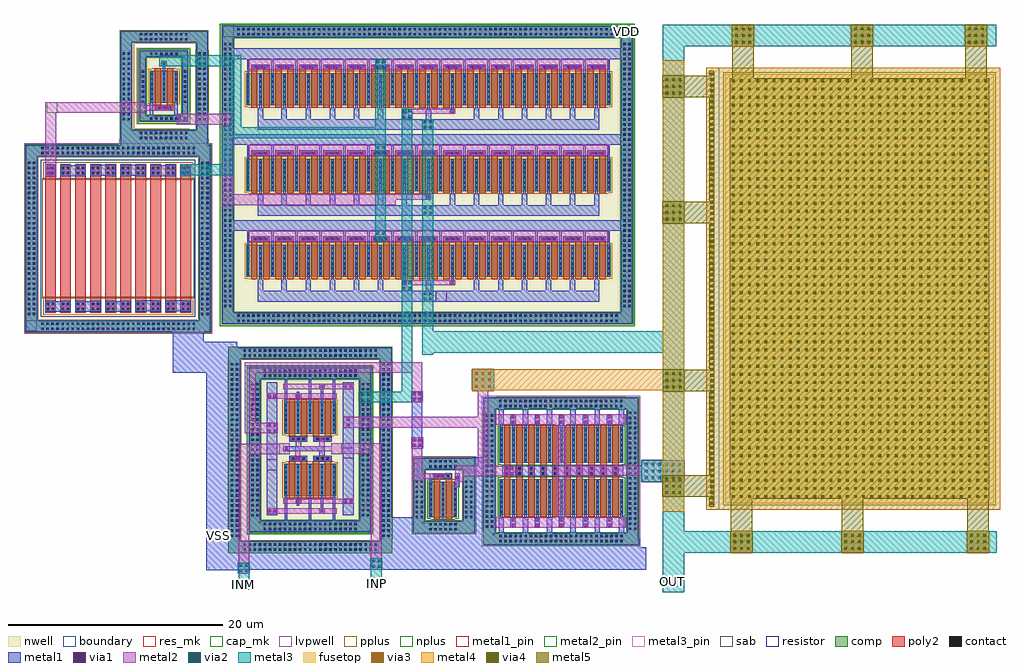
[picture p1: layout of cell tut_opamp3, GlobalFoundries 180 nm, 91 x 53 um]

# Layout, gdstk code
from math import pi, radians
import gdstk
lib = gdstk.Library(unit=1e-6, precision=1e-09)
def R(c, l, rs):  # rectangles x0, y0, x1, y1
    for r in rs: c.add(gdstk.rectangle(r[:2], r[2:], *l))
def A(c, l, x, y, w, h, nx, ny, dx, dy):  # array of equal rectangles
    R(c, l, [(x+i*dx, y+j*dy, x+i*dx+w, y+j*dy+h) for i in range(nx) for j in range(ny)])
boundary = (0, 0)
nwell = (21, 0)
comp = (22, 0)
poly2 = (30, 0)
pplus = (31, 0)
nplus = (32, 0)
contact = (33, 0)
metal1 = (34, 0)
metal1_pin = (34, 10)
via1 = (35, 0)
metal2 = (36, 0)
metal2_pin = (36, 10)
via2 = (38, 0)
via3 = (40, 0)
via4 = (41, 0)
metal3 = (42, 0)
metal3_pin = (42, 10)
metal4 = (46, 0)
sab = (49, 0)
resistor = (62, 0)
fusetop = (75, 0)
metal5 = (81, 0)
res_mk = (110, 5)
cap_mk = (117, 5)
lvpwell = (204, 0)

day7_opamp_m12half = lib.new_cell('day7_opamp_m12half')
R(day7_opamp_m12half, nwell, [(-4.05,-7.6,1.75,-1.9)])
R(day7_opamp_m12half, comp, [(-3.62,-5.8,1.22,-2.8)])
A(day7_opamp_m12half, poly2, -3.18, -6.02, 0.6, 3.42, 4, 1, 1.12, 0)
R(day7_opamp_m12half, poly2, [(-3.18,-2.6,-1.45,-2.58), (-0.94,-2.6,0.8,-2.58), (-3.15,-2.58,-1.45,-2.05), (-0.9,-2.58,0.8,-2.05)])
R(day7_opamp_m12half, pplus, [(-3.41,-6.03,1.01,-5.96), (-3.78,-5.96,1.38,-2.64), (-3.41,-2.64,1.01,-2.57)])
A(day7_opamp_m12half, contact, -3.55, -5.585, 0.22, 0.22, 5, 6, 1.12, 0.47)
A(day7_opamp_m12half, contact, -2.88, -2.41, 0.22, 0.22, 3, 1, 0.47, 0)
A(day7_opamp_m12half, contact, -0.63, -2.41, 0.22, 0.22, 3, 1, 0.47, 0)
A(day7_opamp_m12half, metal1, -3.555, -7.6, 0.23, 4.79, 3, 1, 2.24, 0)
R(day7_opamp_m12half, metal1, [(-0.35,-7.45,0.15,-6.95), (-0.195,-6.95,0.035,-2.81), (-2.435,-6.7,-2.205,-6.55), (-2.55,-6.55,-2.05,-6.05), (-2.435,-6.05,-2.205,-2.81), (-3.15,-2.55,-1.45,-2.05), (-0.9,-2.55,0.8,-2.05)])
R(day7_opamp_m12half, via1, [(-0.23,-7.33,0.03,-7.07), (-2.43,-6.43,-2.17,-6.17)])
R(day7_opamp_m12half, metal2, [(-3.7,-7.45,1.3,-6.95), (-3.7,-6.55,1.3,-6.05)])

day7_opamp_m12 = lib.new_cell('day7_opamp_m12')
R(day7_opamp_m12, nwell, [(45.7,-2.5,57.4,13.2)])
R(day7_opamp_m12, comp, [(43.92,-4.28,59.2,-3.12), (43.92,-3.12,45.08,13.78), (58.04,-3.12,59.2,13.78), (45.82,-2.38,57.28,-1.22), (45.82,-1.22,46.98,11.92), (56.12,-1.22,57.28,11.92), (45.82,11.92,57.28,13.08), (43.92,13.78,59.2,14.94)])
R(day7_opamp_m12, pplus, [(45.205,-4.31,57.915,-4.3), (43.9,-4.3,59.22,-3.09), (43.9,-3.09,45.11,-2.995), (58.01,-3.09,59.22,-2.995), (43.89,-2.995,45.11,13.655), (58.01,-2.995,59.23,13.655), (43.9,13.655,45.11,13.75), (58.01,13.655,59.22,13.75), (43.9,13.75,59.22,14.96), (45.205,14.96,57.915,14.97)])
R(day7_opamp_m12, nplus, [(45.66,-2.54,57.44,-1.19), (45.66,-1.19,47.01,11.89), (56.09,-1.19,57.44,11.89), (45.66,11.89,57.44,13.24)])
A(day7_opamp_m12, contact, 45.34, -4.045, 0.22, 0.22, 27, 2, 0.47, 0.47)
A(day7_opamp_m12, contact, 44.155, -2.77, 0.22, 0.22, 1, 35, 0, 0.47)
A(day7_opamp_m12, contact, 44.625, -2.77, 0.22, 0.22, 1, 35, 0, 0.47)
A(day7_opamp_m12, contact, 58.275, -2.77, 0.22, 0.22, 1, 35, 0, 0.47)
A(day7_opamp_m12, contact, 58.745, -2.77, 0.22, 0.22, 1, 35, 0, 0.47)
A(day7_opamp_m12, contact, 47.21, -2.145, 0.22, 0.22, 19, 2, 0.47, 0.47)
A(day7_opamp_m12, contact, 46.055, -0.87, 0.22, 0.22, 1, 27, 0, 0.47)
A(day7_opamp_m12, contact, 46.525, -0.87, 0.22, 0.22, 1, 27, 0, 0.47)
A(day7_opamp_m12, contact, 56.355, -0.87, 0.22, 0.22, 1, 27, 0, 0.47)
A(day7_opamp_m12, contact, 56.825, -0.87, 0.22, 0.22, 1, 27, 0, 0.47)
A(day7_opamp_m12, contact, 47.21, 12.155, 0.22, 0.22, 19, 2, 0.47, 0.47)
A(day7_opamp_m12, contact, 45.34, 14.015, 0.22, 0.22, 27, 2, 0.47, 0.47)
A(day7_opamp_m12, metal1, 49.195, -1.285, 0.23, 0.585, 3, 1, 2.24, 0)
A(day7_opamp_m12, metal1, 49.195, 11.55, 0.23, 0.435, 3, 1, 2.24, 0)
R(day7_opamp_m12, metal1, [(43.985,-4.215,59.135,-3.185), (43.985,-3.185,45.015,13.845), (58.105,-3.185,59.135,13.845), (45.885,-2.315,57.215,-1.285), (45.885,-1.285,46.915,11.985), (56.185,-1.285,57.215,11.985), (47.5,-0.75,48.5,11.65), (54.6,-0.75,55.6,11.65), (50.25,4.4,50.55,4.7), (52.4,4.55,52.9,5.2), (49.05,5.2,52.9,5.7), (50.2,5.7,50.7,6.4), (52.5,6.2,52.8,6.5), (45.885,11.985,57.215,13.015), (43.985,13.845,59.135,14.875)])
R(day7_opamp_m12, metal1_pin, [(46.7,-1.5,46.9,-1.3), (47.5,3.45,48.5,4.45), (54.6,4.55,55.6,5.55)])
R(day7_opamp_m12, via1, [(47.61,-0.48,47.87,-0.22), (48.13,-0.48,48.39,-0.22), (54.71,0.42,54.97,0.68), (55.23,0.42,55.49,0.68), (50.27,4.42,50.53,4.68), (49.22,5.32,49.48,5.58), (52.52,6.22,52.78,6.48), (47.61,10.22,47.87,10.48), (48.13,10.22,48.39,10.48), (54.71,11.12,54.97,11.38), (55.23,11.12,55.49,11.38)])
R(day7_opamp_m12, metal2, [(47.5,-0.6,49.7,-0.1), (53.4,0.3,55.6,0.8), (50.15,4.3,50.65,5.2), (48.65,4.95,49.65,5.95), (53.5,4.95,54.5,5.2), (50.15,5.2,54.5,5.7), (52.4,5.7,52.9,6.6), (53.5,5.7,54.5,5.95), (47.5,10.1,49.7,10.6), (53.4,11,55.6,11.5)])
R(day7_opamp_m12, metal2_pin, [(48.65,4.95,49.65,5.95), (53.5,4.95,54.5,5.95)])
day7_opamp_m12.add(gdstk.Reference(day7_opamp_m12half, (52.75,4.05), x_reflection=True))
day7_opamp_m12.add(gdstk.Reference(day7_opamp_m12half, (52.75,6.85)))
day7_opamp_m12.add(gdstk.Label('S', (46.8,-1.4), layer=34, texttype=10))
day7_opamp_m12.add(gdstk.Label('INM', (49.15,5.45), layer=36, texttype=10))
day7_opamp_m12.add(gdstk.Label('INP', (54,5.45), layer=36, texttype=10))
day7_opamp_m12.add(gdstk.Label('D2', (55.1,5.05), layer=34, texttype=10))
day7_opamp_m12.add(gdstk.Label('D1', (48,3.95), layer=34, texttype=10))

day7_opamp_bias_r1 = lib.new_cell('day7_opamp_bias_r1')
R(day7_opamp_bias_r1, comp, [(8.07,-29.73,25.39,-28.57), (8.07,-28.57,9.23,-13.35), (24.23,-28.57,25.39,-13.35), (8.07,-13.35,25.39,-12.19)])
A(day7_opamp_bias_r1, poly2, 9.93, -27.87, 1, 13.82, 10, 1, 1.4, 0)
R(day7_opamp_bias_r1, pplus, [(9.355,-29.76,24.105,-29.75), (8.05,-29.75,25.41,-28.54), (8.05,-28.54,9.26,-28.445), (24.2,-28.54,25.41,-28.445), (8.04,-28.445,9.26,-13.475), (24.2,-28.445,25.42,-13.475), (9.73,-28.07,23.73,-26.46), (9.73,-15.46,23.73,-13.85), (8.05,-13.475,9.26,-13.38), (24.2,-13.475,25.41,-13.38), (8.05,-13.38,25.41,-12.17), (9.355,-12.17,24.105,-12.16)])
A(day7_opamp_bias_r1, contact, 9.57, -29.495, 0.22, 0.22, 31, 2, 0.47, 0.47)
A(day7_opamp_bias_r1, contact, 8.305, -28.12, 0.22, 0.22, 1, 31, 0, 0.47)
A(day7_opamp_bias_r1, contact, 8.775, -28.12, 0.22, 0.22, 1, 31, 0, 0.47)
A(day7_opamp_bias_r1, contact, 24.465, -28.12, 0.22, 0.22, 1, 31, 0, 0.47)
A(day7_opamp_bias_r1, contact, 24.935, -28.12, 0.22, 0.22, 1, 31, 0, 0.47)
A(day7_opamp_bias_r1, contact, 9.57, -13.115, 0.22, 0.22, 31, 2, 0.47, 0.47)
R(day7_opamp_bias_r1, contact, [(10.085,-27.635,10.305,-27.415), (10.555,-27.635,10.775,-27.415), (11.485,-27.635,11.705,-27.415), (11.955,-27.635,12.175,-27.415), (12.885,-27.635,13.105,-27.415), (13.355,-27.635,13.575,-27.415), (14.285,-27.635,14.505,-27.415), (14.755,-27.635,14.975,-27.415), (15.685,-27.635,15.905,-27.415), (16.155,-27.635,16.375,-27.415), (17.085,-27.635,17.305,-27.415), (17.555,-27.635,17.775,-27.415), (18.485,-27.635,18.705,-27.415), (18.955,-27.635,19.175,-27.415), (19.885,-27.635,20.105,-27.415), (20.355,-27.635,20.575,-27.415), (21.285,-27.635,21.505,-27.415), (21.755,-27.635,21.975,-27.415), (22.685,-27.635,22.905,-27.415), (23.155,-27.635,23.375,-27.415), (10.085,-27.165,10.305,-26.945), (10.555,-27.165,10.775,-26.945), (11.485,-27.165,11.705,-26.945), (11.955,-27.165,12.175,-26.945), (12.885,-27.165,13.105,-26.945), (13.355,-27.165,13.575,-26.945), (14.285,-27.165,14.505,-26.945), (14.755,-27.165,14.975,-26.945), (15.685,-27.165,15.905,-26.945), (16.155,-27.165,16.375,-26.945), (17.085,-27.165,17.305,-26.945), (17.555,-27.165,17.775,-26.945), (18.485,-27.165,18.705,-26.945), (18.955,-27.165,19.175,-26.945), (19.885,-27.165,20.105,-26.945), (20.355,-27.165,20.575,-26.945), (21.285,-27.165,21.505,-26.945), (21.755,-27.165,21.975,-26.945), (22.685,-27.165,22.905,-26.945), (23.155,-27.165,23.375,-26.945), (10.085,-14.975,10.305,-14.755), (10.555,-14.975,10.775,-14.755), (11.485,-14.975,11.705,-14.755), (11.955,-14.975,12.175,-14.755), (12.885,-14.975,13.105,-14.755), (13.355,-14.975,13.575,-14.755), (14.285,-14.975,14.505,-14.755), (14.755,-14.975,14.975,-14.755), (15.685,-14.975,15.905,-14.755), (16.155,-14.975,16.375,-14.755), (17.085,-14.975,17.305,-14.755), (17.555,-14.975,17.775,-14.755), (18.485,-14.975,18.705,-14.755), (18.955,-14.975,19.175,-14.755), (19.885,-14.975,20.105,-14.755), (20.355,-14.975,20.575,-14.755), (21.285,-14.975,21.505,-14.755), (21.755,-14.975,21.975,-14.755), (22.685,-14.975,22.905,-14.755), (23.155,-14.975,23.375,-14.755), (10.085,-14.505,10.305,-14.285), (10.555,-14.505,10.775,-14.285), (11.485,-14.505,11.705,-14.285), (11.955,-14.505,12.175,-14.285), (12.885,-14.505,13.105,-14.285), (13.355,-14.505,13.575,-14.285), (14.285,-14.505,14.505,-14.285), (14.755,-14.505,14.975,-14.285), (15.685,-14.505,15.905,-14.285), (16.155,-14.505,16.375,-14.285), (17.085,-14.505,17.305,-14.285), (17.555,-14.505,17.775,-14.285), (18.485,-14.505,18.705,-14.285), (18.955,-14.505,19.175,-14.285), (19.885,-14.505,20.105,-14.285), (20.355,-14.505,20.575,-14.285), (21.285,-14.505,21.505,-14.285), (21.755,-14.505,21.975,-14.285), (22.685,-14.505,22.905,-14.285), (23.155,-14.505,23.375,-14.285)])
A(day7_opamp_bias_r1, metal1, 9.94, -27.805, 0.98, 0.005, 6, 1, 1.4, 0)
A(day7_opamp_bias_r1, metal1, 18.34, -27.805, 0.98, 0.055, 4, 1, 1.4, 0)
A(day7_opamp_bias_r1, metal1, 9.94, -27.8, 2.38, 1, 3, 1, 2.8, 0)
A(day7_opamp_bias_r1, metal1, 9.94, -26.8, 0.98, 0.025, 6, 1, 1.4, 0)
A(day7_opamp_bias_r1, metal1, 14.14, -15.145, 0.98, 0.045, 4, 1, 1.4, 0)
R(day7_opamp_bias_r1, metal1, [(8.135,-29.665,25.325,-28.635), (8.135,-28.635,9.165,-13.285), (24.295,-28.635,25.325,-13.285), (18.34,-27.75,20.72,-26.775), (21.14,-27.75,23.52,-26.775), (18.9,-26.775,20.05,-26.75), (21.6,-26.775,22.75,-26.75), (11.9,-15.15,13.05,-15.145), (20.35,-15.15,21.5,-15.145), (9.94,-15.145,10.92,-14.115), (11.34,-15.145,13.72,-14.15), (19.74,-15.145,22.12,-14.15), (22.54,-15.145,23.52,-14.115), (14.14,-15.1,16.52,-14.115), (16.94,-15.1,19.32,-14.115), (11.34,-14.15,12.32,-14.115), (12.74,-14.15,13.72,-14.115), (19.74,-14.15,20.72,-14.115), (21.14,-14.15,22.12,-14.115), (14.7,-14.115,15.85,-14.1), (17.3,-14.115,18.45,-14.1), (8.135,-13.285,25.325,-12.255)])
R(day7_opamp_bias_r1, sab, [(9.65,-26.56,23.81,-15.36), (9.65,-26.46,23.81,-15.46)])
R(day7_opamp_bias_r1, resistor, [(9.53,-28.27,23.93,-13.65)])
A(day7_opamp_bias_r1, res_mk, 9.93, -26.46, 1, 11, 10, 1, 1.4, 0)
R(day7_opamp_bias_r1, res_mk, [(9.65,-26.46,23.81,-15.46)])
R(day7_opamp_bias_r1, lvpwell, [(7.95,-29.85,25.51,-12.07)])

day7_opamp_bias_pair = lib.new_cell('day7_opamp_bias_pair')
R(day7_opamp_bias_pair, nwell, [(16.2,-9.45,19.66,-5.15)])
R(day7_opamp_bias_pair, comp, [(16.63,-8.8,19.23,-5.8)])
R(day7_opamp_bias_pair, poly2, [(17.07,-9.02,17.67,-5.5), (18.19,-9.02,18.79,-5.5), (17.07,-5.5,18.79,-5.03), (17.1,-5.03,18.75,-5)])
R(day7_opamp_bias_pair, pplus, [(16.84,-9.03,19.02,-8.96), (16.47,-8.96,19.39,-5.64), (16.84,-5.64,19.02,-5.57)])
A(day7_opamp_bias_pair, contact, 16.7, -8.585, 0.22, 0.22, 3, 6, 1.12, 0.47)
A(day7_opamp_bias_pair, contact, 17.37, -5.36, 0.22, 0.22, 3, 1, 0.47, 0)
R(day7_opamp_bias_pair, metal1, [(17.815,-9.6,18.045,-5.81), (16.695,-8.79,16.925,-4.5), (18.935,-8.79,19.165,-4.5), (17.25,-5.5,18.65,-5), (16.65,-4.5,19.165,-3.5)])
R(day7_opamp_bias_pair, via1, [(17.56,-5.38,17.82,-5.12), (18.08,-5.38,18.34,-5.12)])
R(day7_opamp_bias_pair, metal2, [(16.8,-5.5,19.05,-4.5)])

day7_opamp_bias_row = lib.new_cell('day7_opamp_bias_row')
A(day7_opamp_bias_row, pplus, 24.07, -8.93, 0.06, 0.07, 14, 2, 2.24, 3.39)
A(day7_opamp_bias_row, metal1, 24.95, -10, 0.5, 1, 5, 1, 2.25, 0)
A(day7_opamp_bias_row, metal1, 47.35, -10, 0.5, 1, 4, 1, 2.25, 0)
A(day7_opamp_bias_row, metal1, 36.15, -9.5, 0.5, 0.5, 3, 1, 2.25, 0)
R(day7_opamp_bias_row, metal1, [(22.75,-11,54.6,-10), (22.75,-10,23.25,-9), (42.9,-10,43.4,-9), (45.15,-10,45.65,-9)])
r = gdstk.Reference(day7_opamp_bias_pair, (5.05,0.1)); r.repetition = gdstk.Repetition(15, 1, v1=(2.24,0), v2=(0,0.71)); day7_opamp_bias_row.add(r)

day7_opamp_bias_mpmb = lib.new_cell('day7_opamp_bias_mpmb')
R(day7_opamp_bias_mpmb, nwell, [(15.45,-28.8,54.07,-0.69)])
R(day7_opamp_bias_mpmb, comp, [(15.57,-28.68,53.95,-27.52), (15.57,-27.52,16.73,-1.97), (52.79,-27.52,53.95,-1.97), (15.57,-1.97,53.95,-0.81)])
R(day7_opamp_bias_mpmb, nplus, [(15.41,-28.84,54.11,-27.49), (15.41,-27.49,16.76,-2), (52.76,-27.49,54.11,-2), (15.41,-2,54.11,-0.65)])
A(day7_opamp_bias_mpmb, contact, 17.025, -28.445, 0.22, 0.22, 76, 2, 0.47, 0.47)
A(day7_opamp_bias_mpmb, contact, 15.805, -27.075, 0.22, 0.22, 1, 53, 0, 0.47)
A(day7_opamp_bias_mpmb, contact, 16.275, -27.075, 0.22, 0.22, 1, 53, 0, 0.47)
A(day7_opamp_bias_mpmb, contact, 53.025, -27.075, 0.22, 0.22, 1, 53, 0, 0.47)
A(day7_opamp_bias_mpmb, contact, 53.495, -27.075, 0.22, 0.22, 1, 53, 0, 0.47)
A(day7_opamp_bias_mpmb, contact, 17.025, -1.735, 0.22, 0.22, 76, 2, 0.47, 0.47)
A(day7_opamp_bias_mpmb, metal1, 34.4, -26.45, 0.8, 0.8, 1, 3, 0, 8)
R(day7_opamp_bias_mpmb, metal1, [(15.635,-28.615,53.885,-27.585), (15.635,-27.585,16.665,-19.95), (52.855,-27.585,53.885,-19.95), (34.6,-25.65,35.1,-24.7), (32.45,-24.95,32.75,-24.65), (36.95,-24.95,37.25,-24.65), (15.635,-19.95,18.7,-18.95), (50.7,-19.95,53.885,-18.95), (15.635,-18.95,16.665,-11.95), (52.855,-18.95,53.885,-11.95), (32.35,-17.7,32.85,-16.7), (36.85,-17.65,37.35,-16.65), (34.7,-16.95,35,-16.65), (15.635,-11.95,18.75,-10.95), (50.75,-11.95,53.885,-10.95), (15.635,-10.95,16.665,-3.95), (52.855,-10.95,53.885,-3.95), (34.6,-9.65,35.1,-8.75), (32.45,-8.95,32.75,-8.65), (36.95,-8.95,37.25,-8.65), (15.635,-3.95,18.65,-2.95), (50.85,-3.95,53.885,-2.95), (15.635,-2.95,16.665,-1.905), (52.855,-2.95,53.885,-1.905), (15.635,-1.905,53.885,-0.875)])
R(day7_opamp_bias_mpmb, via1, [(34.41,-26.44,34.67,-26.18), (34.93,-26.44,35.19,-26.18), (34.41,-25.92,34.67,-25.66), (34.93,-25.92,35.19,-25.66), (32.47,-24.93,32.73,-24.67), (36.97,-24.93,37.23,-24.67), (34.41,-18.44,34.67,-18.18), (34.93,-18.44,35.19,-18.18), (34.41,-17.92,34.67,-17.66), (34.93,-17.92,35.19,-17.66), (34.72,-16.93,34.98,-16.67), (34.41,-10.44,34.67,-10.18), (34.93,-10.44,35.19,-10.18), (34.41,-9.92,34.67,-9.66), (34.93,-9.92,35.19,-9.66), (32.47,-8.93,32.73,-8.67), (36.97,-8.93,37.23,-8.67)])
A(day7_opamp_bias_mpmb, metal2, 34.3, -26.55, 1, 1, 1, 3, 0, 8)
A(day7_opamp_bias_mpmb, metal2, 30, -20.85, 0.8, 0.8, 1, 3, 0, 8)
R(day7_opamp_bias_mpmb, metal2, [(32.35,-25.55,33.35,-25.05), (32.35,-25.05,37.35,-24.55), (18.5,-17.55,31.8,-17.05), (18.5,-17.05,35.1,-16.55), (32.35,-9.55,33.35,-9.05), (32.35,-9.05,37.35,-8.55)])
R(day7_opamp_bias_mpmb, via2, [(34.41,-26.44,34.67,-26.18), (34.93,-26.44,35.19,-26.18), (34.41,-25.92,34.67,-25.66), (34.93,-25.92,35.19,-25.66), (32.46,-25.44,32.72,-25.18), (32.98,-25.44,33.24,-25.18), (32.46,-24.92,32.72,-24.66), (32.98,-24.92,33.24,-24.66), (30.01,-20.84,30.27,-20.58), (30.53,-20.84,30.79,-20.58), (30.01,-20.32,30.27,-20.06), (30.53,-20.32,30.79,-20.06), (34.41,-18.44,34.67,-18.18), (34.93,-18.44,35.19,-18.18), (34.41,-17.92,34.67,-17.66), (34.93,-17.92,35.19,-17.66), (30.01,-12.84,30.27,-12.58), (30.53,-12.84,30.79,-12.58), (30.01,-12.32,30.27,-12.06), (30.53,-12.32,30.79,-12.06), (34.41,-10.44,34.67,-10.18), (34.93,-10.44,35.19,-10.18), (34.41,-9.92,34.67,-9.66), (34.93,-9.92,35.19,-9.66), (32.46,-9.44,32.72,-9.18), (32.98,-9.44,33.24,-9.18), (32.46,-8.92,32.72,-8.66), (32.98,-8.92,33.24,-8.66), (30.01,-4.84,30.27,-4.58), (30.53,-4.84,30.79,-4.58), (30.01,-4.32,30.27,-4.06), (30.53,-4.32,30.79,-4.06)])
R(day7_opamp_bias_mpmb, metal3, [(34.3,-26.55,35.3,-9.55), (32.35,-25.55,33.35,-8.55), (29.9,-20.95,30.9,-3.95)])
day7_opamp_bias_mpmb.add(gdstk.Reference(day7_opamp_bias_row, (-3.8,-15.55)))
day7_opamp_bias_mpmb.add(gdstk.Reference(day7_opamp_bias_row, (-3.8,0.45)))
day7_opamp_bias_mpmb.add(gdstk.Reference(day7_opamp_bias_row, (-3.8,-7.55)))

day7_opamp_bias_mp2 = lib.new_cell('day7_opamp_bias_mp2')
R(day7_opamp_bias_mp2, nwell, [(12.9,-30.25,17.9,-23.1)])
R(day7_opamp_bias_mp2, comp, [(11.37,-31.88,19.6,-30.72), (11.37,-30.72,12.53,-22.67), (18.44,-30.72,19.6,-22.67), (13.17,-30.03,17.75,-29.37), (13.17,-29.37,13.83,-24.01), (17.09,-29.37,17.75,-24.01), (14.16,-28.24,16.76,-25.24), (13.17,-24.01,17.75,-23.35), (11.37,-22.67,19.6,-21.51)])
R(day7_opamp_bias_mp2, poly2, [(14.6,-29.01,15.2,-29), (15.72,-29.01,16.32,-29), (14.6,-29,16.32,-28.5), (14.6,-28.5,15.2,-25.02), (15.72,-28.5,16.32,-25.02)])
R(day7_opamp_bias_mp2, pplus, [(13.055,-31.91,17.815,-31.9), (11.35,-31.9,19.62,-30.7), (11.35,-30.7,17.815,-30.69), (18.42,-30.7,19.62,-30.145), (11.35,-30.69,12.69,-30.145), (11.34,-30.145,12.69,-23.295), (18.41,-30.145,19.63,-23.295), (14.37,-28.47,16.55,-28.4), (14,-28.4,16.92,-25.08), (14.37,-25.08,16.55,-25.01), (11.35,-23.295,12.69,-22.7), (18.42,-23.295,19.62,-22.69), (11.35,-22.7,17.815,-22.69), (11.35,-22.69,19.62,-21.49), (13.055,-21.49,17.815,-21.48)])
R(day7_opamp_bias_mp2, nplus, [(13.01,-30.19,17.91,-29.34), (13.01,-29.34,13.85,-28.445), (17.07,-29.34,17.91,-28.445), (13.01,-28.445,13.86,-25.035), (17.06,-28.445,17.91,-25.035), (13.01,-25.035,13.85,-24.04), (17.07,-25.035,17.91,-24.04), (13.01,-24.04,17.91,-23.19)])
A(day7_opamp_bias_mp2, contact, 13.21, -31.645, 0.22, 0.22, 10, 2, 0.47, 0.47)
A(day7_opamp_bias_mp2, contact, 11.605, -29.885, 0.22, 0.22, 1, 14, 0, 0.47)
A(day7_opamp_bias_mp2, contact, 12.075, -29.885, 0.22, 0.22, 1, 14, 0, 0.47)
A(day7_opamp_bias_mp2, contact, 18.675, -29.885, 0.22, 0.22, 1, 14, 0, 0.47)
A(day7_opamp_bias_mp2, contact, 19.145, -29.885, 0.22, 0.22, 1, 14, 0, 0.47)
A(day7_opamp_bias_mp2, contact, 14.175, -29.81, 0.22, 0.22, 6, 2, 0.47, 6.02)
A(day7_opamp_bias_mp2, contact, 14.87, -28.86, 0.22, 0.22, 3, 1, 0.47, 0)
A(day7_opamp_bias_mp2, contact, 13.39, -28.26, 0.22, 0.22, 1, 7, 0, 0.47)
A(day7_opamp_bias_mp2, contact, 17.31, -28.26, 0.22, 0.22, 1, 7, 0, 0.47)
A(day7_opamp_bias_mp2, contact, 14.23, -28.025, 0.22, 0.22, 3, 6, 1.12, 0.47)
A(day7_opamp_bias_mp2, contact, 13.21, -22.435, 0.22, 0.22, 10, 2, 0.47, 0.47)
R(day7_opamp_bias_mp2, metal1, [(11.435,-31.815,19.535,-30.785), (11.435,-30.785,12.465,-22.605), (18.505,-30.785,19.535,-22.605), (13.235,-29.965,17.685,-29.435), (13.235,-29.435,13.765,-23.945), (14.15,-29.435,14.455,-28.3), (15.345,-29.435,15.575,-29.4), (16.45,-29.435,16.75,-28.3), (17.155,-29.435,17.685,-23.945), (14.75,-29,16.15,-28.5), (14.225,-28.3,14.455,-25.25), (16.465,-28.3,16.695,-25.25), (15.345,-28.25,15.575,-24.85), (15.2,-24.85,15.7,-24.35), (13.235,-23.945,17.685,-23.415), (11.435,-22.605,19.535,-21.575)])

day7_opamp_bias = lib.new_cell('day7_opamp_bias')
R(day7_opamp_bias, comp, [(17.25,-13,25.55,-12.45)])
R(day7_opamp_bias, pplus, [(17.23,-13.02,25.57,-12.43)])
R(day7_opamp_bias, metal1, [(8.55,-30.3,9.55,-29.3), (46.75,-27.55,47.75,-26.55), (10.45,-15.8,11.2,-14.9), (23.05,-15.75,23.8,-14.85), (17.35,-13,25.45,-12.35), (22.7,-10.65,23.5,-10.3), (20.8,-9.65,21.95,-9.35), (21.15,-5.6,21.65,-5.1), (26.9,-2.85,27.9,-1.85)])
R(day7_opamp_bias, metal1_pin, [(8.55,-30.3,9.55,-29.3), (46.75,-27.55,47.75,-26.55), (26.9,-2.85,27.9,-1.85)])
R(day7_opamp_bias, via1, [(10.695,-15.74,10.955,-15.48), (23.295,-15.69,23.555,-15.43), (10.695,-15.22,10.955,-14.96), (23.295,-15.17,23.555,-14.91), (22.71,-10.605,22.97,-10.345), (23.23,-10.605,23.49,-10.345), (20.985,-9.63,21.245,-9.37), (21.505,-9.63,21.765,-9.37), (21.27,-5.48,21.53,-5.22)])
R(day7_opamp_bias, metal2, [(26.85,-18.55,30.7,-17.55), (26.85,-17.55,27.85,-11.05), (10.35,-15.9,11.35,-9.95), (22.95,-15.85,23.9,-14.75), (22.6,-11.05,27.85,-10.05), (10.35,-9.95,19.55,-9.75), (10.35,-9.75,22.05,-9.25), (10.35,-9.25,19.55,-8.95), (21.15,-5.6,21.65,-5.1)])
R(day7_opamp_bias, metal2_pin, [(10.45,-9.95,11.45,-8.95)])
R(day7_opamp_bias, via2, [(23.295,-15.69,23.555,-15.43), (23.295,-15.17,23.555,-14.91), (21.27,-5.48,21.53,-5.22)])
R(day7_opamp_bias, metal3, [(43.55,-26.55,44.55,-25.55), (22.95,-15.85,23.9,-15.75), (22.95,-15.75,27.8,-14.75), (26.8,-14.75,27.8,-12.3), (26.8,-12.3,42.1,-11.3), (26.8,-11.3,28.6,-11.2), (27.6,-11.2,28.6,-5.6), (20.95,-5.6,28.6,-4.6)])
R(day7_opamp_bias, metal3_pin, [(43.55,-26.55,44.55,-25.55)])
day7_opamp_bias.add(gdstk.Reference(day7_opamp_bias_r1, (0.4,-0.7)))
day7_opamp_bias.add(gdstk.Reference(day7_opamp_bias_mpmb, (11.2,-1)))
day7_opamp_bias.add(gdstk.Reference(day7_opamp_bias_mp2, (5.93,19.23)))
day7_opamp_bias.add(gdstk.Label('VDD', (27.4,-2.35), layer=34, texttype=10))
day7_opamp_bias.add(gdstk.Label('DB12', (47.25,-27.05), layer=34, texttype=10))
day7_opamp_bias.add(gdstk.Label('DB11', (44.05,-26.05), layer=42, texttype=10))
day7_opamp_bias.add(gdstk.Label('VSS', (9.05,-29.8), layer=34, texttype=10))
day7_opamp_bias.add(gdstk.Label('IREF', (10.95,-9.45), layer=36, texttype=10))

day7_opamp_m5half = lib.new_cell('day7_opamp_m5half')
R(day7_opamp_m5half, comp, [(0.27,3.44,11.83,6.74)])
A(day7_opamp_m5half, poly2, 0.71, 3.22, 0.6, 4.78, 10, 1, 1.12, 0)
R(day7_opamp_m5half, nplus, [(0.48,3.21,11.62,3.28), (0.11,3.28,11.99,6.9), (0.48,6.9,11.62,6.97)])
A(day7_opamp_m5half, contact, 0.34, 3.57, 0.22, 0.22, 11, 7, 1.12, 0.47)
A(day7_opamp_m5half, contact, 2.04, 7.155, 0.22, 0.22, 3, 2, 1.1, 0.47)
A(day7_opamp_m5half, contact, 5.39, 7.155, 0.22, 0.22, 3, 2, 1.1, 0.47)
R(day7_opamp_m5half, contact, [(0.89,7.155,1.11,7.375), (8.74,7.155,8.96,7.375), (9.84,7.155,10.06,7.375), (10.99,7.155,11.21,7.375), (0.89,7.625,1.11,7.845), (8.74,7.625,8.96,7.845), (9.84,7.625,10.06,7.845), (10.99,7.625,11.21,7.845)])
A(day7_opamp_m5half, metal1, 0.2, 1.7, 0.5, 1.5, 3, 1, 2.25, 0)
A(day7_opamp_m5half, metal1, 6.9, 1.7, 0.5, 1.5, 3, 1, 2.25, 0)
A(day7_opamp_m5half, metal1, 1.3, 2.2, 0.5, 1, 5, 1, 2.25, 0)
A(day7_opamp_m5half, metal1, 0.335, 3.2, 0.23, 3.53, 11, 1, 1.12, 0)
R(day7_opamp_m5half, metal1, [(0.55,7,11.8,8)])
A(day7_opamp_m5half, via1, 1.42, 2.31, 0.26, 0.26, 5, 2, 2.25, 0.52)
R(day7_opamp_m5half, metal2, [(-0.05,2.2,12.05,3.2)])
R(day7_opamp_m5half, lvpwell, [(-0.1,1.65,12.05,8)])

day7_opamp_m5 = lib.new_cell('day7_opamp_m5')
R(day7_opamp_m5, comp, [(2.27,-5.08,16.78,-3.92), (2.27,-3.92,3.43,7.52), (15.62,-3.92,16.78,7.52), (2.27,7.52,16.78,8.68)])
R(day7_opamp_m5, pplus, [(3.455,-5.11,15.595,-5.1), (2.25,-5.1,16.8,-3.89), (2.25,-3.89,3.46,-3.795), (15.59,-3.89,16.8,-3.845), (15.59,-3.845,16.81,7.49), (2.24,-3.795,3.46,7.395), (2.25,7.395,3.46,7.49), (2.25,7.49,16.81,7.495), (2.25,7.495,16.8,8.7), (3.455,8.7,15.545,8.71)])
A(day7_opamp_m5, contact, 3.775, -4.845, 0.22, 0.22, 25, 2, 0.47, 0.47)
A(day7_opamp_m5, contact, 15.855, -3.69, 0.22, 0.22, 1, 24, 0, 0.47)
A(day7_opamp_m5, contact, 16.325, -3.69, 0.22, 0.22, 1, 24, 0, 0.47)
A(day7_opamp_m5, contact, 2.505, -3.48, 0.22, 0.22, 1, 23, 0, 0.47)
A(day7_opamp_m5, contact, 2.975, -3.48, 0.22, 0.22, 1, 23, 0, 0.47)
A(day7_opamp_m5, contact, 3.75, 7.755, 0.22, 0.22, 25, 2, 0.47, 0.47)
R(day7_opamp_m5, metal1, [(2.335,-5.015,16.715,-3.985), (2.335,-3.985,3.365,7.585), (15.685,-3.985,16.715,7.585), (4.7,1.3,5.7,2.3), (2.335,7.585,16.715,8.615)])
R(day7_opamp_m5, metal1_pin, [(3.15,-4.185,3.35,-3.985), (4.7,1.3,5.7,2.3)])
R(day7_opamp_m5, metal2, [(9.05,-3.5,10,7.1), (3.9,6.1,4.9,7.1)])
R(day7_opamp_m5, metal2_pin, [(3.9,6.1,4.9,7.1)])
R(day7_opamp_m5, lvpwell, [(2.15,-5.2,16.9,8.8)])
day7_opamp_m5.add(gdstk.Reference(day7_opamp_m5half, (3.5,9.3), x_reflection=True))
day7_opamp_m5.add(gdstk.Reference(day7_opamp_m5half, (3.5,-5.7)))
day7_opamp_m5.add(gdstk.Label('D5', (4.4,6.6), layer=36, texttype=10))
day7_opamp_m5.add(gdstk.Label('G5', (5.2,1.8), layer=34, texttype=10))
day7_opamp_m5.add(gdstk.Label('VSS', (3.25,-4.085), layer=34, texttype=10))

day7_opamp_m34 = lib.new_cell('day7_opamp_m34')
R(day7_opamp_m34, comp, [(7.22,-4.08,13,-2.92), (7.22,-2.92,8.38,1.79), (11.84,-2.92,13,1.79), (8.71,-2.59,11.31,0.71), (7.22,1.79,13,2.95)])
R(day7_opamp_m34, poly2, [(9.15,-2.81,9.75,0.95), (10.27,-2.81,10.87,0.95), (9.15,0.95,10.87,1.5)])
R(day7_opamp_m34, pplus, [(8.505,-4.11,11.515,-4.1), (7.2,-4.1,13.02,-2.89), (7.2,-2.89,8.41,-2.795), (11.81,-2.89,13.02,-2.795), (7.19,-2.795,8.41,0.915), (11.81,-2.795,13.03,0.915), (7.2,0.915,8.4,1.76), (11.82,0.915,13.02,1.76), (7.2,1.76,13.02,2.97), (8.505,2.97,11.515,2.98)])
R(day7_opamp_m34, nplus, [(8.92,-2.82,11.1,-2.75), (8.55,-2.75,11.47,0.87), (8.92,0.87,11.1,0.94)])
A(day7_opamp_m34, contact, 8.725, -3.845, 0.22, 0.22, 6, 2, 0.47, 0.47)
A(day7_opamp_m34, contact, 7.455, -2.695, 0.22, 0.22, 1, 8, 0, 0.47)
A(day7_opamp_m34, contact, 7.925, -2.695, 0.22, 0.22, 1, 8, 0, 0.47)
A(day7_opamp_m34, contact, 12.075, -2.695, 0.22, 0.22, 1, 8, 0, 0.47)
A(day7_opamp_m34, contact, 12.545, -2.695, 0.22, 0.22, 1, 8, 0, 0.47)
A(day7_opamp_m34, contact, 8.78, -2.46, 0.22, 0.22, 3, 7, 1.12, 0.47)
A(day7_opamp_m34, contact, 9.42, 1.14, 0.22, 0.22, 3, 1, 0.47, 0)
A(day7_opamp_m34, contact, 8.725, 2.025, 0.22, 0.22, 6, 2, 0.47, 0.47)
R(day7_opamp_m34, metal1, [(7.285,-4.015,12.935,-2.985), (7.285,-2.985,8.315,1.855), (9.895,-2.985,10.125,0.7), (11.905,-2.985,12.935,1.855), (8.775,-2.58,9.005,1), (11.015,-2.58,11.245,0.2), (11.015,0.2,11.6,0.7), (11.1,0.7,11.6,1.5), (8.775,1,10.85,1.5), (7.285,1.855,12.935,2.885)])
R(day7_opamp_m34, metal1_pin, [(8.1,-3.2,8.3,-3), (8.8,1,9.3,1.5), (11.1,1,11.6,1.5)])
R(day7_opamp_m34, lvpwell, [(7.1,-4.2,13.12,3.07)])
day7_opamp_m34.add(gdstk.Label('D3', (9.05,1.25), layer=34, texttype=10))
day7_opamp_m34.add(gdstk.Label('D4', (11.35,1.25), layer=34, texttype=10))
day7_opamp_m34.add(gdstk.Label('VSS', (8.2,-3.1), layer=34, texttype=10))

cap_mim_2p0ff_ctd7an = lib.new_cell('cap_mim_2p0fF_CTD7AN')
R(cap_mim_2p0ff_ctd7an, boundary, [(-13.7,-20.6,12.5,20.6)])
A(cap_mim_2p0ff_ctd7an, via4, 13.04, -20.15, 0.26, 0.26, 1, 78, 0, 0.52)
A(cap_mim_2p0ff_ctd7an, via4, -12.51, -19.51, 0.26, 0.26, 32, 52, 0.76, 0.76)
R(cap_mim_2p0ff_ctd7an, metal4, [(-13.7,-20.6,13.7,20.6)])
R(cap_mim_2p0ff_ctd7an, fusetop, [(-13.1,-20,11.9,20)])
R(cap_mim_2p0ff_ctd7an, metal5, [(12.95,-20.315,13.39,20.315), (-12.7,-19.6,11.5,19.6)])
R(cap_mim_2p0ff_ctd7an, cap_mk, [(-13.3,-20.2,12.1,20.2)])

day7_c1 = lib.new_cell('day7_c1')
day7_c1.add(gdstk.Reference(cap_mim_2p0ff_ctd7an, (133,12.65)))

tut_opamp3 = lib.new_cell('tut_opamp3')
R(tut_opamp3, metal1, [(108.9,-1.6,111.8,-1.55), (108.9,-1.55,149.9,0.55), (108.9,0.55,111.8,16.8), (125.75,0.55,149.35,1.35), (125.75,1.35,135,1.4), (125.75,1.4,135.25,2.9), (125.75,2.9,128.5,3.35), (133.7,2.9,135.25,8.95), (132.15,6.75,132.45,7.35), (129.85,7.05,131,7.35), (136.6,7.25,137.65,8.05), (128.05,9.74,129.05,14.11), (114.65,11.25,115.45,12.05), (121.75,11.8,122.5,12.6), (128,14.11,129.1,15.09), (123.35,14.15,124.15,14.95), (128.05,15.09,129.05,15.1), (105.75,16.8,111.8,19.7), (105.75,19.7,108.65,21.1), (147.6,48.1,148.6,49.1)])
R(tut_opamp3, metal1_pin, [(109.55,1.15,110.55,2.15), (147.6,48.1,148.6,49.1)])
R(tut_opamp3, via1, [(132.17,6.92,132.43,7.18), (130.035,7.07,130.295,7.33), (130.555,7.07,130.815,7.33), (136.735,7.26,136.995,7.52), (137.255,7.26,137.515,7.52), (136.735,7.78,136.995,8.04), (137.255,7.78,137.515,8.04), (128.16,9.9,128.42,10.16), (128.68,9.9,128.94,10.16), (128.16,10.42,128.42,10.68), (128.68,10.42,128.94,10.68), (114.66,11.26,114.92,11.52), (115.18,11.26,115.44,11.52), (114.66,11.78,114.92,12.04), (115.18,11.78,115.44,12.04), (121.995,11.81,122.255,12.07), (121.995,12.33,122.255,12.59), (123.36,14.16,123.62,14.42), (123.88,14.16,124.14,14.42), (128.16,14.21,128.42,14.47), (128.68,14.21,128.94,14.47), (123.36,14.68,123.62,14.94), (123.88,14.68,124.14,14.94), (128.16,14.73,128.42,14.99), (128.68,14.73,128.94,14.99)])
R(tut_opamp3, metal2, [(111.9,-1.95,112.9,9.2), (124.25,-1.55,125.25,9.25), (132.05,6.15,132.55,6.65), (149.5,6.6,151.5,6.65), (132.05,6.65,132.9,7.15), (149.5,6.65,153.5,7.225), (128.05,6.75,129.05,6.95), (128.05,6.95,131.1,7.45), (132.05,7.15,137.75,7.45), (141.5,7.225,153.5,8.175), (128.05,7.45,129.05,9.79), (132.1,7.45,137.75,8.15), (134.2,8.15,135.2,11.7), (149.5,8.175,153.5,8.65), (149.5,8.65,151.5,8.7), (111.9,9.2,116.65,10.2), (120.55,9.25,125.25,10.25), (127.99,9.79,129.11,10.79), (112.5,11.15,115.55,12.15), (121.65,11.7,135.2,12.7), (112.5,12.15,113.5,16.8), (134.2,12.7,135.2,15.16), (123.25,14.05,124.25,15.05), (128.05,14.05,129.05,16.8), (133.66,15.16,135.74,17.14), (112.5,16.8,129.05,17.8)])
A(tut_opamp3, via2, 149.795, 6.9, 0.26, 0.26, 6, 3, 0.62, 0.62)
A(tut_opamp3, via2, 133.95, 15.4, 0.26, 0.26, 3, 3, 0.62, 0.62)
R(tut_opamp3, via2, [(112.01,-1.79,112.27,-1.53), (112.53,-1.79,112.79,-1.53), (124.36,-1.39,124.62,-1.13), (124.88,-1.39,125.14,-1.13), (112.01,-1.27,112.27,-1.01), (112.53,-1.27,112.79,-1.01), (124.36,-0.87,124.62,-0.61), (124.88,-0.87,125.14,-0.61), (123.36,14.16,123.62,14.42), (123.88,14.16,124.14,14.42), (123.36,14.68,123.62,14.94), (123.88,14.68,124.14,14.94)])
A(tut_opamp3, via3, 158.05, 0.3, 0.26, 0.26, 3, 3, 0.62, 0.62)
A(tut_opamp3, via3, 168.4, 0.3, 0.26, 0.26, 3, 3, 0.62, 0.62)
A(tut_opamp3, via3, 180.1, 0.3, 0.26, 0.26, 3, 3, 0.62, 0.62)
A(tut_opamp3, via3, 133.95, 15.4, 0.26, 0.26, 3, 3, 0.62, 0.62)
A(tut_opamp3, via3, 158.2, 47.5, 0.26, 0.26, 3, 3, 0.62, 0.62)
A(tut_opamp3, via3, 169.3, 47.5, 0.26, 0.26, 3, 3, 0.62, 0.62)
A(tut_opamp3, via3, 179.9, 47.5, 0.26, 0.26, 3, 3, 0.62, 0.62)
A(tut_opamp3, via4, 158.05, 0.3, 0.26, 0.26, 3, 3, 0.62, 0.62)
A(tut_opamp3, via4, 168.4, 0.3, 0.26, 0.26, 3, 3, 0.62, 0.62)
A(tut_opamp3, via4, 180.1, 0.3, 0.26, 0.26, 3, 3, 0.62, 0.62)
A(tut_opamp3, via4, 151.7, 5.5, 0.26, 0.26, 3, 3, 0.62, 0.62)
A(tut_opamp3, via4, 151.7, 15.35, 0.26, 0.26, 3, 3, 0.62, 0.62)
A(tut_opamp3, via4, 151.7, 31, 0.26, 0.26, 3, 3, 0.62, 0.62)
A(tut_opamp3, via4, 151.7, 42.75, 0.26, 0.26, 3, 3, 0.62, 0.62)
A(tut_opamp3, via4, 158.2, 47.5, 0.26, 0.26, 3, 3, 0.62, 0.62)
A(tut_opamp3, via4, 169.3, 47.5, 0.26, 0.26, 3, 3, 0.62, 0.62)
A(tut_opamp3, via4, 179.9, 47.5, 0.26, 0.26, 3, 3, 0.62, 0.62)
R(tut_opamp3, metal3, [(151.45,-3.65,153.45,0.05), (111.9,-3.4,112.9,-1.9), (124.25,-3.35,125.25,-1.5), (111.85,-1.9,112.95,-0.9), (124.2,-1.5,125.3,-0.5), (157.8,0,159.8,0.05), (168.15,0,170.15,0.05), (179.85,0,181.85,0.05), (151.45,0.05,182.6,2.05), (151.45,2.05,153.45,6.65), (157.8,2.05,159.8,2.1), (168.15,2.05,170.15,2.1), (179.85,2.05,181.85,2.1), (149.45,6.65,153.45,8.65), (151.45,8.65,153.45,18.7), (123.15,14.05,128.1,15.05), (127.1,15.05,128.1,25.45), (133.71,15.11,135.69,15.16), (133.66,15.16,135.74,17.14), (133.71,17.14,135.69,17.19), (129.05,18.5,130.05,18.7), (129.05,18.7,153.45,20.7), (129.05,20.7,130.05,24.45), (151.45,20.7,153.45,43.595), (151.445,43.595,153.46,47.24), (157.95,47.2,159.95,47.25), (169.05,47.2,171.05,47.25), (179.65,47.2,181.65,47.25), (151.445,47.24,154.955,47.25), (151.445,47.25,182.55,49.25), (151.445,49.25,154.955,49.255), (157.95,49.25,159.95,49.3), (169.05,49.25,171.05,49.3), (179.65,49.25,181.65,49.3)])
R(tut_opamp3, metal3_pin, [(111.9,-3.4,112.9,-2.4), (124.25,-3.35,125.25,-2.35), (151.9,-3.15,152.9,-2.15)])
R(tut_opamp3, metal4, [(157.8,0,159.8,0.05), (168.15,0,170.15,0.05), (179.85,0,181.85,0.05), (157.75,0.05,159.85,2.05), (168.1,0.05,170.2,2.05), (179.8,0.05,181.9,2.05), (157.8,2.05,159.8,2.1), (168.15,2.05,170.15,2.1), (179.85,2.05,181.85,2.1), (151.45,3.85,153.45,15.1), (151.4,15.1,153.5,15.16), (133.71,15.11,135.69,15.16), (133.71,15.16,153.5,17.1), (133.71,17.1,153.45,17.14), (133.71,17.14,135.69,17.19), (151.45,17.14,153.45,30.75), (151.4,30.75,153.5,32.75), (151.45,32.75,153.45,42.5), (151.4,42.5,153.5,44.5), (151.45,44.5,153.45,45.95), (157.95,47.2,159.95,47.25), (169.05,47.2,171.05,47.25), (179.65,47.2,181.65,47.25), (157.9,47.25,160,49.25), (169,47.25,171.1,49.25), (179.6,47.25,181.7,49.25), (157.95,49.25,159.95,49.3), (169.05,49.25,171.05,49.3), (179.65,49.25,181.65,49.3)])
R(tut_opamp3, metal5, [(157.75,0.05,159.85,2.05), (168.1,0.05,170.2,2.05), (179.8,0.05,181.9,2.05), (157.8,2.05,159.8,6.75), (168.15,2.05,170.15,6.9), (179.85,2.05,181.85,7.25), (151.4,5.25,155.95,7.25), (151.45,15.05,153.45,15.1), (151.45,15.1,155.9,17.1), (151.45,17.1,153.45,17.15), (151.45,30.7,153.45,30.75), (151.45,30.75,155.9,32.75), (151.45,32.75,153.45,32.8), (151.45,42.45,153.45,42.5), (151.45,42.5,156.1,44.5), (157.95,42.9,159.95,47.25), (169.05,43.1,171.05,47.25), (179.65,43.1,181.65,47.25), (151.45,44.5,153.45,44.55), (157.9,47.25,160,49.25), (169,47.25,171.1,49.25), (179.6,47.25,181.7,49.25)])
tut_opamp3.add(gdstk.Reference(day7_opamp_m12, (67.03,4.28)))
tut_opamp3.add(gdstk.Reference(day7_opamp_bias, (83.55,51)))
tut_opamp3.add(gdstk.Reference(day7_opamp_m5, (132.45,5.85)))
tut_opamp3.add(gdstk.Reference(day7_opamp_m34, (120.95,5.95)))
tut_opamp3.add(gdstk.Reference(day7_c1, (302.2,12), rotation=pi, x_reflection=True))
tut_opamp3.add(gdstk.Label('VDD', (148.1,48.6), layer=34, texttype=10))
tut_opamp3.add(gdstk.Label('OUT', (152.4,-2.65), layer=42, texttype=10))
tut_opamp3.add(gdstk.Label('INP', (124.75,-2.85), layer=42, texttype=10))
tut_opamp3.add(gdstk.Label('INM', (112.4,-2.9), layer=42, texttype=10))
tut_opamp3.add(gdstk.Label('VSS', (110.05,1.65), layer=34, texttype=10))

lib.write_gds('tut_opamp3.gds')
